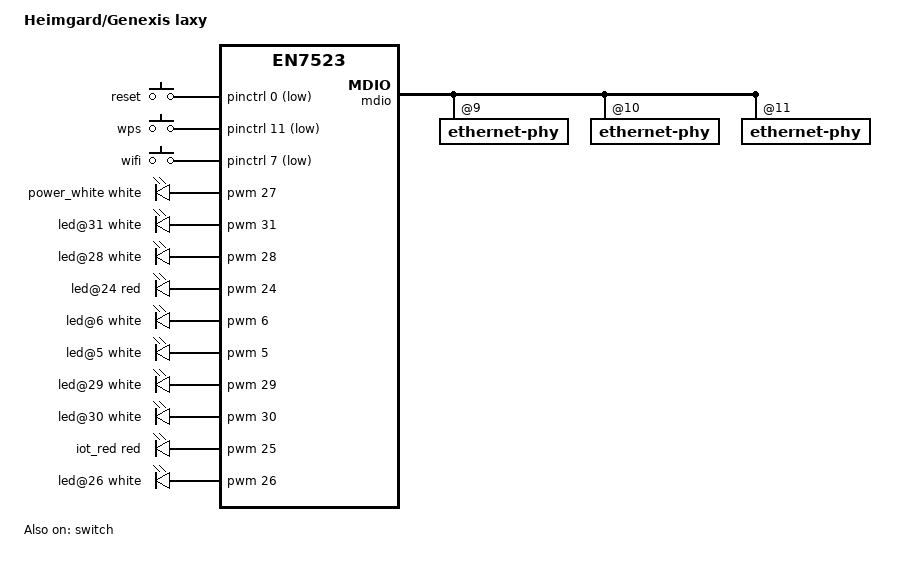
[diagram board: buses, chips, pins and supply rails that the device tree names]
/* SPDX-License-Identifier: GPL-2.0-or-later OR MIT */
/dts-v1/;

#include "en7523-genexis.dtsi"

/ {
	model = "Heimgard/Genexis laxy";
	compatible = "genexis,laxy", "airoha,en7523";

	aliases {
		led-boot = &power_white;
		led-failsafe = &iot_red;
		led-upgrade = &power_white;
		led-running = &power_white;
	};

	keys {
		compatible = "gpio-keys-polled";
		poll-interval = <100>;

		reset {
			label = "reset";
			linux,code = <KEY_RESTART>;
			gpios = <&pinctrl 0 GPIO_ACTIVE_LOW>;
			debounce-interval = <60>;
		};

		wps {
			label = "wps";
			linux,code = <KEY_WPS_BUTTON>;
			gpios = <&pinctrl 11 GPIO_ACTIVE_LOW>;
			debounce-interval = <60>;
		};

		wireless {
			label = "wifi";
			linux,code = <KEY_WLAN>;
			gpios = <&pinctrl 7 GPIO_ACTIVE_LOW>;
			debounce-interval = <60>;
		};
	};

	leds {
		compatible = "pwm-leds";

		/* power:white */
		power_white: led@27 {
			pwms = <&pwm 27 4000000 0>;
			max-brightness = <255>;
			active-low;
			function-enumerator = <27>;
			color = <LED_COLOR_ID_WHITE>;
			function = LED_FUNCTION_STATUS;
		};

		/* internet:white */
		led@31 {
			pwms = <&pwm 31 4000000 0>;
			max-brightness = <255>;
			active-low;
			function-enumerator = <31>;
			color = <LED_COLOR_ID_WHITE>;
			function = LED_FUNCTION_WAN_ONLINE;
		};

		/* pon:white */
		led@28 {
			pwms = <&pwm 28 4000000 0>;
			max-brightness = <255>;
			active-low;
			function-enumerator = <28>;
			color = <LED_COLOR_ID_WHITE>;
			function = LED_FUNCTION_STATUS;
		};

		/* los:red */
		led@24 {
			pwms = <&pwm 24 4000000 0>;
			max-brightness = <255>;
			active-low;
			function-enumerator = <24>;
			color = <LED_COLOR_ID_RED>;
			function = LED_FUNCTION_STATUS;
		};

		/* wifi2:white */
		led@6 {
			pwms = <&pwm 6 4000000 0>;
			max-brightness = <255>;
			active-low;
			function-enumerator = <6>;
			color = <LED_COLOR_ID_WHITE>;
			function = LED_FUNCTION_WLAN_2GHZ;
		};

		/* wifi5:white */
		led@5 {
			pwms = <&pwm 5 4000000 0>;
			max-brightness = <255>;
			active-low;
			function-enumerator = <5>;
			color = <LED_COLOR_ID_WHITE>;
			function = LED_FUNCTION_WLAN_5GHZ;
		};

		/* fxs1:white */
		led@29 {
			pwms = <&pwm 29 4000000 0>;
			max-brightness = <255>;
			active-low;
			function-enumerator = <29>;
			color = <LED_COLOR_ID_WHITE>;
			function = LED_FUNCTION_STATUS;
		};

		/* fxs2:white */
		led@30 {
			pwms = <&pwm 30 4000000 0>;
			max-brightness = <255>;
			active-low;
			function-enumerator = <30>;
			color = <LED_COLOR_ID_WHITE>;
			function = LED_FUNCTION_STATUS;
		};

		/* iot:red */
		iot_red: led@25 {
			pwms = <&pwm 25 4000000 0>;
			max-brightness = <255>;
			active-low;
			function-enumerator = <25>;
			color = <LED_COLOR_ID_RED>;
			function = LED_FUNCTION_STATUS;
		};

		/* iot:white */
		led@26 {
			pwms = <&pwm 26 4000000 0>;
			max-brightness = <255>;
			active-low;
			function-enumerator = <26>;
			color = <LED_COLOR_ID_WHITE>;
			function = LED_FUNCTION_STATUS;
		};
	};
};

&switch {
	status = "okay";
	ports {
		port@1 {
			label = "lan1";
			status = "okay";
		};

		port@2 {
			label = "lan2";
			status = "okay";
		};

		port@3 {
			label = "lan3";
			status = "okay";
		};
	};

	mdio {
		ethernet-phy@9 {
			status = "okay";
			leds {
				led0@0 {
					status = "okay";
				};
			};
		};

		ethernet-phy@10 {
			status = "okay";
			leds {
				led0@0 {
					status = "okay";
				};
			};
		};

		ethernet-phy@11 {
			status = "okay";
			leds {
				led0@0 {
					status = "okay";
				};
			};
		};
	};
};
